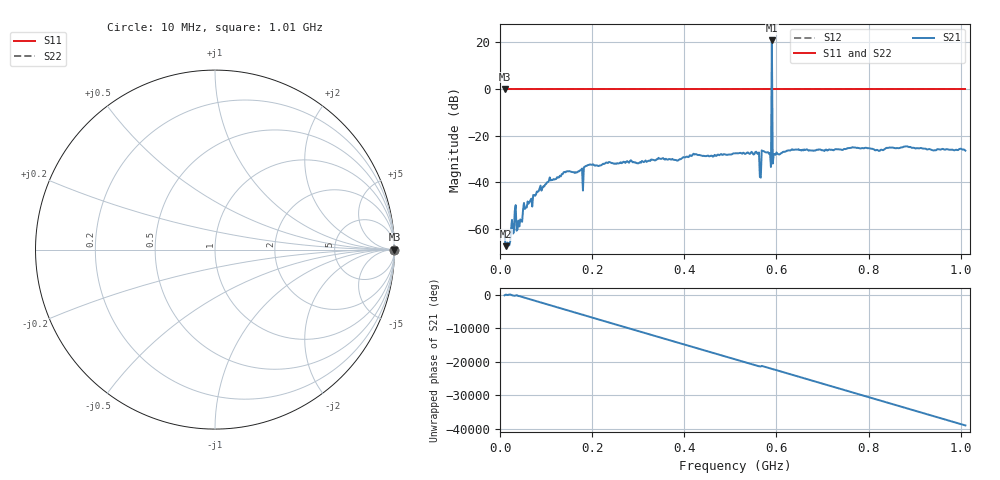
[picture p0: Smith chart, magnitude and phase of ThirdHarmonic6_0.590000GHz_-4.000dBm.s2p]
! 8/15/2025 7:08:21 PM
! C:\ANRITSUVNA\TEMP\TEMP.S2P
! CHANNEL.1
! TR.MEASUREMENT
! RAW.DATA
! RF.CORRECTION.OFF
! AVERAGING.OFF
! IF.BANDWIDTH: 5KHZ
! SWEEPTYPE:  FREQ.SWEEP(Linear)
! Reference Plane Port Info
! PORT:  PORT1  PORT2
! DISTANCE:  0  m  0  m
! TIME:  0  s  0  s
! PHASE.OFFSET:  0  deg.  0  deg.
! LOSS:  0  dB  0  dB
! REF.LOSS:  0  dB  0  dB
! REF.FREQ:  0  Hz  0  Hz
! Power Info
! POWER:  -20  dBm  -20  dBm
! EFF.POWER:  -20  dBm  -20  dBm
! SOURCE.ATTEN:  0  dB  0  dB
! TEST.ATTEN:  0  dB  0  dB
# GHZ S RI R 50.0
! FREQ.GHZ  S11RE  S11IM  S21RE  S21IM  S12RE  S12IM  S22RE  S22IM
!; PortSelection: Port_12
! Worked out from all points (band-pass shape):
!   501 points, 10 MHz to 1.01 GHz, reference 50 ohm
!   highest |S21| = 20.84 dB at 590 MHz (marker M1); lowest = -67.5 dB at 12 MHz (marker M2)
!   |S21| within 3 dB of the highest: 589.8896 MHz to 590.1135 MHz (223.8 kHz wide, 0.0379 % of centre)
!   lowest |S11| = 0.0 dB at 10 MHz (marker M3)
!   |S11| at or under -10 dB: nowhere
!   |S22| runs from 0.0 to 0.0 dB; largest |S21 - S12| = 12
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0.01  1 0  -0.000737 -0.000209  1 0  1 0
0.012  1 0  0.000419 3.99e-05  1 0  1 0
0.018  1 0  0.000418 -0.00024  1 0  1 0
0.03  1 0  -0.000267 0.000784  1 0  1 0
0.04  1 0  0.00114 -0.000959  1 0  1 0
0.056  1 0  -0.000676 0.00274  1 0  1 0
0.104  1 0  0.00564 -0.00824  1 0  1 0
0.178  1 0  -0.0192 -0.00345  1 0  1 0
0.194  1 0  -0.00459 -0.0233  1 0  1 0
0.344  1 0  0.0326 -0.00675  1 0  1 0
0.51  1 0  -0.0369 0.0193  1 0  1 0
0.558  1 0  0.0394 0.0133  1 0  1 0
0.562  1 0  -0.0301 -0.0312  1 0  1 0
0.572  1 0  -0.0463 0.00318  1 0  1 0
0.584  1 0  0.0241 0.0323  1 0  1 0
0.586  1 0  0.0384 -0.0178  1 0  1 0
0.59  1 0  -9.92 4.785  1 0  1 0
0.594  1 0  0.0387 0.0107  1 0  1 0
0.596  1 0  0.016 -0.0368  1 0  1 0
0.678  1 0  -0.0285 -0.0383  1 0  1 0
0.844  1 0  0.0471 0.0284  1 0  1 0
1.01  1 0  -0.0473 -0.000792  1 0  1 0
